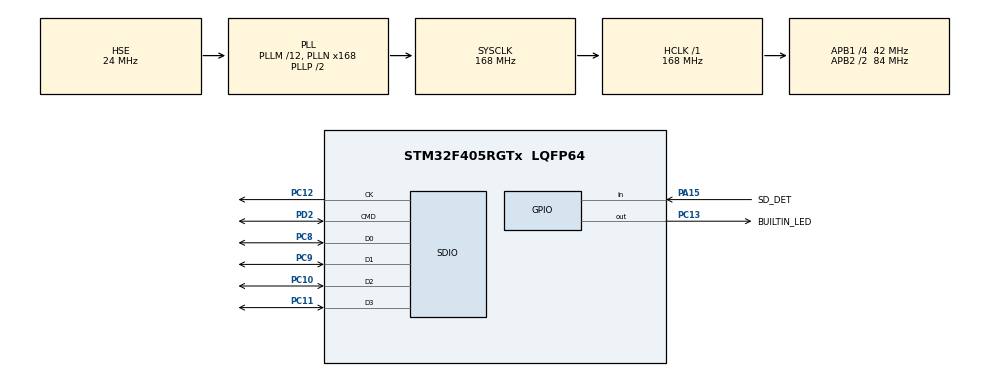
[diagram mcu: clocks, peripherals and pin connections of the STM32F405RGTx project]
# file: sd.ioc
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Mcu.Family=STM32F4
Dma.SDIO_TX.1.MemInc=DMA_MINC_ENABLE
PH0-OSC_IN.Signal=RCC_OSC_IN
RCC.CortexFreq_Value=168000000
PC10.GPIO_PuPd=GPIO_PULLUP
FATFS._USE_LFN=1
FATFS0.BSP.api=Unknown
VP_FATFS_VS_SDIO.Mode=SDIO
PC12.Signal=SDIO_CK
PC10.Signal=SDIO_D2
Dma.SDIO_TX.1.PeriphBurst=DMA_PBURST_INC4
RCC.SYSCLKSource=RCC_SYSCLKSOURCE_PLLCLK
ProjectManager.StackSize=0x800
Dma.SDIO_RX.0.Direction=DMA_PERIPH_TO_MEMORY
Dma.SDIO_TX.1.PeriphInc=DMA_PINC_DISABLE
Dma.SDIO_TX.1.Instance=DMA2_Stream6
PC11.GPIO_PuPd=GPIO_PULLUP
PA15.GPIO_Label=SD_DET
Dma.SDIO_TX.1.PeriphDataAlignment=DMA_PDATAALIGN_WORD
RCC.HCLKFreq_Value=168000000
RCC.APB2TimFreq_Value=168000000
Dma.SDIO_TX.1.FIFOMode=DMA_FIFOMODE_ENABLE
RCC.AHBFreq_Value=168000000
PH0-OSC_IN.Mode=HSE-External-Oscillator
FATFS0.BSP.ip=GPIO
RCC.HSE_VALUE=24000000
FATFS0.BSP.i2caddr=0
PC13-ANTI_TAMP.Signal=GPIO_Output
Dma.SDIO_TX.1.MemBurst=DMA_MBURST_INC4
PA14.Mode=Serial_Wire
PC9.Mode=SD_4_bits_Wide_bus
Dma.SDIO_TX.1.Direction=DMA_MEMORY_TO_PERIPH
Dma.SDIO_RX.0.MemDataAlignment=DMA_MDATAALIGN_WORD
FATFS._USE_LABEL=1
PH1-OSC_OUT.Mode=HSE-External-Oscillator
Mcu.Package=LQFP64
FATFS0.BSP.solution=PA15
PA15.Signal=GPIO_Input
PC11.Mode=SD_4_bits_Wide_bus
Dma.SDIO_TX.1.FIFOThreshold=DMA_FIFO_THRESHOLD_FULL
Dma.SDIO_TX.1.Priority=DMA_PRIORITY_LOW
RCC.APB2CLKDivider=RCC_HCLK_DIV2
Dma.Request1=SDIO_TX
RCC.APB1TimFreq_Value=84000000
Dma.SDIO_RX.0.MemBurst=DMA_MBURST_INC4
Dma.SDIO_RX.0.Instance=DMA2_Stream3
Dma.Request0=SDIO_RX
Dma.SDIO_RX.0.FIFOMode=DMA_FIFOMODE_ENABLE
RCC.PLLSourceVirtual=RCC_PLLSOURCE_HSE
FATFS0.BSP.STBoard=false
Dma.SDIO_RX.0.Mode=DMA_PFCTRL
Dma.SDIO_RX.0.Priority=DMA_PRIORITY_LOW
PD2.GPIO_PuPd=GPIO_PULLUP
PC13-ANTI_TAMP.GPIO_Label=BUILTIN_LED
PC11.Signal=SDIO_D3
FATFS0.BSP.mode=Input
PC8.Signal=SDIO_D0
Dma.SDIO_RX.0.PeriphInc=DMA_PINC_DISABLE
PC10.Mode=SD_4_bits_Wide_bus
RCC.APB1CLKDivider=RCC_HCLK_DIV4
NVIC.SDIO_IRQn=true\:0\:0\:false\:false\:true\:true\:true
PC13-ANTI_TAMP.PinState=GPIO_PIN_SET
SDIO.ClockBypass=SDIO_CLOCK_BYPASS_DISABLE
FATFS0.BSP.instance=PA15
PA13.Signal=SYS_JTMS-SWDIO
Dma.SDIO_TX.1.MemDataAlignment=DMA_MDATAALIGN_WORD
Dma.SDIO_RX.0.MemInc=DMA_MINC_ENABLE
Dma.SDIO_RX.0.FIFOThreshold=DMA_FIFO_THRESHOLD_FULL
ProjectManager.TargetToolchain=STM32CubeIDE
SDIO.ClockDiv=2
NVIC.DMA2_Stream3_IRQn=true\:0\:0\:false\:false\:true\:false\:true
NVIC.DMA2_Stream6_IRQn=true\:0\:0\:false\:false\:true\:false\:true
RCC.LSE_VALUE=32768
Dma.SDIO_RX.0.PeriphDataAlignment=DMA_PDATAALIGN_WORD
PD2.Mode=SD_4_bits_Wide_bus
FATFS.BSP.number=1
PC12.Mode=SD_4_bits_Wide_bus
board=custom
RCC.VCOOutputFreq_Value=336000000
FATFS.USE_DMA_CODE_SD=1
RCC.APB2Freq_Value=84000000
FATFS._FS_EXFAT=1
PC9.GPIO_PuPd=GPIO_PULLUP
PH1-OSC_OUT.Signal=RCC_OSC_OUT
Dma.SDIO_TX.1.Mode=DMA_PFCTRL
PA13.Mode=Serial_Wire
Mcu.Name=STM32F405RGTx
PC8.Mode=SD_4_bits_Wide_bus
RCC.48MHZClocksFreq_Value=48000000
PC8.GPIO_PuPd=GPIO_PULLUP
RCC.SYSCLKFreq_VALUE=168000000
PA14.Signal=SYS_JTCK-SWCLK
ProjectManager.HeapSize=0x400
RCC.HSI_VALUE=16000000
RCC.PLLQ=7
NVIC.PriorityGroup=NVIC_PRIORITYGROUP_4
RCC.PLLM=12
SDIO.HardwareFlowControl=SDIO_HARDWARE_FLOW_CONTROL_ENABLE
RCC.PLLN=168
PA15.GPIO_PuPd=GPIO_PULLUP
Dma.SDIO_RX.0.PeriphBurst=DMA_PBURST_INC4
PC9.Signal=SDIO_D1
PD2.Signal=SDIO_CMD
RCC.APB1Freq_Value=42000000
FATFS0.BSP.name=Detect_SDIO

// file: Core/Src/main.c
/* USER CODE BEGIN Header */
/**
 ******************************************************************************
 * @file           : main.c
 * @brief          : Main program body
 ******************************************************************************
 * @attention
 *
 * <h2><center>&copy; Copyright (c) 2020 STMicroelectronics.
 * All rights reserved.</center></h2>
 *
 * This software component is licensed by ST under BSD 3-Clause license,
 * the "License"; You may not use this file except in compliance with the
 * License. You may obtain a copy of the License at:
 *                        opensource.org/licenses/BSD-3-Clause
 *
 ******************************************************************************
 */
/* USER CODE END Header */
#include "main.h"
#include "fatfs.h"

/* USER CODE BEGIN Includes */
#include "string.h"
/* USER CODE END Includes */

SD_HandleTypeDef hsd;
DMA_HandleTypeDef hdma_sdio_rx;
DMA_HandleTypeDef hdma_sdio_tx;

void SystemClock_Config(void);
static void MX_GPIO_Init(void);
static void MX_DMA_Init(void);
static void MX_SDIO_SD_Init(void);

int main(void)
{
  /* USER CODE BEGIN 1 */
	FRESULT res;
	uint32_t byteswritten, bytesread;
	uint8_t wtext[] = "STM32 FATFS works great";
	uint8_t rtext[_MAX_SS];
  /* USER CODE END 1 */

  /* MCU Configuration--------------------------------------------------------*/

  /* Reset of all peripherals, Initializes the Flash interface and the Systick. */
  HAL_Init();

  /* Configure the system clock */
  SystemClock_Config();

  /* Initialize all configured peripherals */
  MX_GPIO_Init();
  MX_DMA_Init();
  MX_SDIO_SD_Init();
  MX_FATFS_Init();
  /* USER CODE BEGIN 2 */
	if (f_mount(&SDFatFS, (TCHAR const*) SDPath, 0) != FR_OK) {
		Error_Handler();
	} else {
		if (f_mkfs((TCHAR const*) SDPath, FM_EXFAT, 0, rtext, sizeof(rtext))
				!= FR_OK) {
			Error_Handler();
		} else {
			//Open file for writing (Create)
			if (f_open(&SDFile, "STM32.TXT", FA_CREATE_ALWAYS | FA_WRITE)
					!= FR_OK) {
				Error_Handler();
			} else {

				//Write to the text file
				res = f_write(&SDFile, wtext, strlen((char*) wtext),
						(void*) &byteswritten);
				if ((byteswritten == 0) || (res != FR_OK)) {
					Error_Handler();
				} else {

					f_close(&SDFile);

					//Test read file
					f_open(&SDFile, "STM32.TXT", FA_READ);
					memset(rtext, 0, sizeof(rtext));
					res = f_read(&SDFile, rtext, sizeof(rtext),
							(UINT*) &bytesread);
					if ((bytesread == 0) || (res != FR_OK)) {
						Error_Handler();
					} else {
						//Error_Handler();
					}
					f_close(&SDFile);
				}
			}
		}
	}
	f_mount(&SDFatFS, (TCHAR const*) NULL, 0);
  /* USER CODE END 2 */

  /* Infinite loop */
  /* USER CODE BEGIN WHILE */

	uint32_t then = 0;

	while (1) {

      uint32_t now = HAL_GetTick();
      if (now % 1000 == 0 && now != then) {

    	  HAL_GPIO_TogglePin(BUILTIN_LED_GPIO_Port, BUILTIN_LED_Pin);

    	  then = now;
      }

    /* USER CODE END WHILE */

	}
}

void SystemClock_Config(void)
{
  RCC_OscInitTypeDef RCC_OscInitStruct = {0};
  RCC_ClkInitTypeDef RCC_ClkInitStruct = {0};

  /** Configure the main internal regulator output voltage
  */
  __HAL_RCC_PWR_CLK_ENABLE();
  __HAL_PWR_VOLTAGESCALING_CONFIG(PWR_REGULATOR_VOLTAGE_SCALE1);
  /** Initializes the RCC Oscillators according to the specified parameters
  * in the RCC_OscInitTypeDef structure.
  */
  RCC_OscInitStruct.OscillatorType = RCC_OSCILLATORTYPE_HSE;
  RCC_OscInitStruct.HSEState = RCC_HSE_ON;
  RCC_OscInitStruct.PLL.PLLState = RCC_PLL_ON;
  RCC_OscInitStruct.PLL.PLLSource = RCC_PLLSOURCE_HSE;
  RCC_OscInitStruct.PLL.PLLM = 12;
  RCC_OscInitStruct.PLL.PLLN = 168;
  RCC_OscInitStruct.PLL.PLLP = RCC_PLLP_DIV2;
  RCC_OscInitStruct.PLL.PLLQ = 7;
  if (HAL_RCC_OscConfig(&RCC_OscInitStruct) != HAL_OK)
  {
    Error_Handler();
  }
  /** Initializes the CPU, AHB and APB buses clocks
  */
  RCC_ClkInitStruct.ClockType = RCC_CLOCKTYPE_HCLK|RCC_CLOCKTYPE_SYSCLK
                              |RCC_CLOCKTYPE_PCLK1|RCC_CLOCKTYPE_PCLK2;
  RCC_ClkInitStruct.SYSCLKSource = RCC_SYSCLKSOURCE_PLLCLK;
  RCC_ClkInitStruct.AHBCLKDivider = RCC_SYSCLK_DIV1;
  RCC_ClkInitStruct.APB1CLKDivider = RCC_HCLK_DIV4;
  RCC_ClkInitStruct.APB2CLKDivider = RCC_HCLK_DIV2;

  if (HAL_RCC_ClockConfig(&RCC_ClkInitStruct, FLASH_LATENCY_5) != HAL_OK)
  {
    Error_Handler();
  }
}

static void MX_SDIO_SD_Init(void)
{

  hsd.Instance = SDIO;
  hsd.Init.ClockEdge = SDIO_CLOCK_EDGE_RISING;
  hsd.Init.ClockBypass = SDIO_CLOCK_BYPASS_DISABLE;
  hsd.Init.ClockPowerSave = SDIO_CLOCK_POWER_SAVE_DISABLE;
  hsd.Init.BusWide = SDIO_BUS_WIDE_1B;
  hsd.Init.HardwareFlowControl = SDIO_HARDWARE_FLOW_CONTROL_ENABLE;
  hsd.Init.ClockDiv = 2;

}

static void MX_DMA_Init(void)
{

  /* DMA controller clock enable */
  __HAL_RCC_DMA2_CLK_ENABLE();

  /* DMA interrupt init */
  /* DMA2_Stream3_IRQn interrupt configuration */
  HAL_NVIC_SetPriority(DMA2_Stream3_IRQn, 0, 0);
  HAL_NVIC_EnableIRQ(DMA2_Stream3_IRQn);
  /* DMA2_Stream6_IRQn interrupt configuration */
  HAL_NVIC_SetPriority(DMA2_Stream6_IRQn, 0, 0);
  HAL_NVIC_EnableIRQ(DMA2_Stream6_IRQn);

}

static void MX_GPIO_Init(void)
{
  GPIO_InitTypeDef GPIO_InitStruct = {0};

  /* GPIO Ports Clock Enable */
  __HAL_RCC_GPIOC_CLK_ENABLE();
  __HAL_RCC_GPIOH_CLK_ENABLE();
  __HAL_RCC_GPIOA_CLK_ENABLE();
  __HAL_RCC_GPIOD_CLK_ENABLE();

  /*Configure GPIO pin Output Level */
  HAL_GPIO_WritePin(BUILTIN_LED_GPIO_Port, BUILTIN_LED_Pin, GPIO_PIN_SET);

  /*Configure GPIO pin : BUILTIN_LED_Pin */
  GPIO_InitStruct.Pin = BUILTIN_LED_Pin;
  GPIO_InitStruct.Mode = GPIO_MODE_OUTPUT_PP;
  GPIO_InitStruct.Pull = GPIO_NOPULL;
  GPIO_InitStruct.Speed = GPIO_SPEED_FREQ_LOW;
  HAL_GPIO_Init(BUILTIN_LED_GPIO_Port, &GPIO_InitStruct);

  /*Configure GPIO pin : SD_DET_Pin */
  GPIO_InitStruct.Pin = SD_DET_Pin;
  GPIO_InitStruct.Mode = GPIO_MODE_INPUT;
  GPIO_InitStruct.Pull = GPIO_PULLUP;
  HAL_GPIO_Init(SD_DET_GPIO_Port, &GPIO_InitStruct);

}

void Error_Handler(void)
{
	__disable_irq();
	while (1) {
	}
}

/************************ (C) COPYRIGHT STMicroelectronics *****END OF FILE****/
